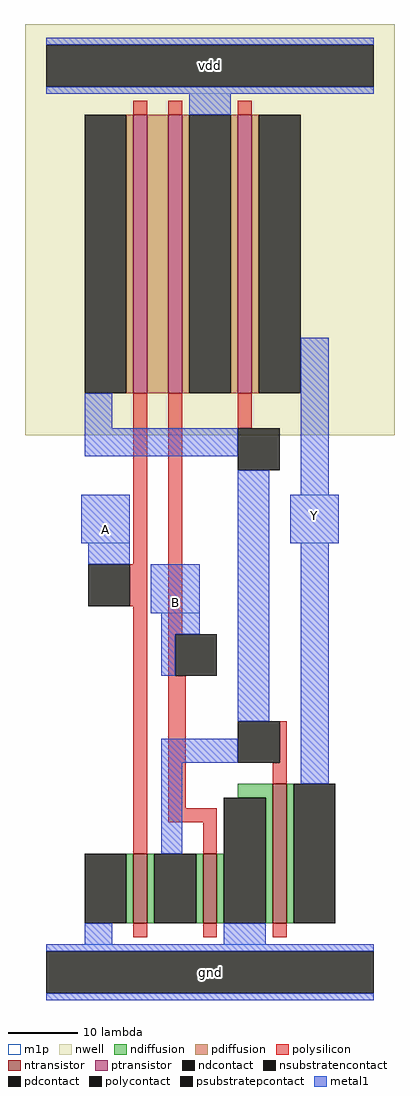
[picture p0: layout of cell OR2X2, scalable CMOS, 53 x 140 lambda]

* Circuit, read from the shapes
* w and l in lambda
.subckt OR2X2 A B Y vdd gnd
M1 n1 A gnd gnd nfet w=10 l=2
M2 gnd B n1 gnd nfet w=10 l=2
M3 Y n1 gnd gnd nfet w=20 l=2
M4 n2 A n1 vdd pfet w=40 l=2
M5 vdd B n2 vdd pfet w=40 l=2
M6 Y n1 vdd vdd pfet w=40 l=2
.ends

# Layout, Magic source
magic
tech scmos
magscale 1 2
<< nwell >>
rect -13 154 93 272
<< ntransistor >>
rect 18 14 22 34
rect 38 14 42 34
rect 58 14 62 54
<< ptransistor >>
rect 18 166 22 246
rect 28 166 32 246
rect 48 166 52 246
<< ndiffusion >>
rect 48 50 58 54
rect 16 14 18 34
rect 22 14 24 34
rect 36 14 38 34
rect 42 14 44 34
rect 56 14 58 50
rect 62 14 64 54
<< pdiffusion >>
rect 16 166 18 246
rect 22 166 28 246
rect 32 166 34 246
rect 46 166 48 246
rect 52 166 54 246
<< ndcontact >>
rect 4 14 16 34
rect 24 14 36 34
rect 44 14 56 50
rect 64 14 76 54
<< pdcontact >>
rect 4 166 16 246
rect 34 166 46 246
rect 54 166 66 246
<< psubstratepcontact >>
rect -7 -6 87 6
<< nsubstratencontact >>
rect -7 254 87 266
<< polysilicon >>
rect 18 246 22 250
rect 28 246 32 250
rect 48 246 52 250
rect 18 117 22 166
rect 17 105 22 117
rect 18 34 22 105
rect 28 97 32 166
rect 48 156 52 166
rect 28 85 30 97
rect 28 47 33 85
rect 60 60 62 72
rect 58 54 62 60
rect 28 43 42 47
rect 38 34 42 43
rect 18 10 22 14
rect 38 10 42 14
rect 58 10 62 14
<< polycontact >>
rect 5 105 17 117
rect 48 144 60 156
rect 30 85 42 97
rect 48 60 60 72
<< metal1 >>
rect -7 266 87 268
rect -7 252 87 254
rect 34 246 46 252
rect 4 156 12 166
rect 4 148 48 156
rect 3 123 17 137
rect 5 117 17 123
rect 23 103 37 117
rect 26 97 37 103
rect 26 85 30 97
rect 48 72 57 144
rect 66 137 74 182
rect 63 123 77 137
rect 26 60 48 67
rect 26 34 32 60
rect 66 54 74 123
rect 4 8 12 14
rect 44 8 56 14
rect -7 6 87 8
rect -7 -8 87 -6
<< m1p >>
rect -7 252 87 268
rect 3 123 17 137
rect 63 123 77 137
rect 23 103 37 117
rect -7 -8 87 8
<< labels >>
rlabel nsubstratencontact 40 260 40 260 0 vdd
port 4 nsew power bidirectional abutment
rlabel psubstratepcontact 40 0 40 0 0 gnd
port 5 nsew ground bidirectional abutment
rlabel metal1 10 127 10 127 0 A
port 1 nsew signal input
rlabel metal1 30 106 30 106 0 B
port 2 nsew signal input
rlabel metal1 70 131 70 131 0 Y
port 3 nsew signal output
<< properties >>
string FIXED_BBOX 0 0 80 260
string LEFclass CORE
string LEFsite core
string LEFsymmetry X Y
<< end >>
